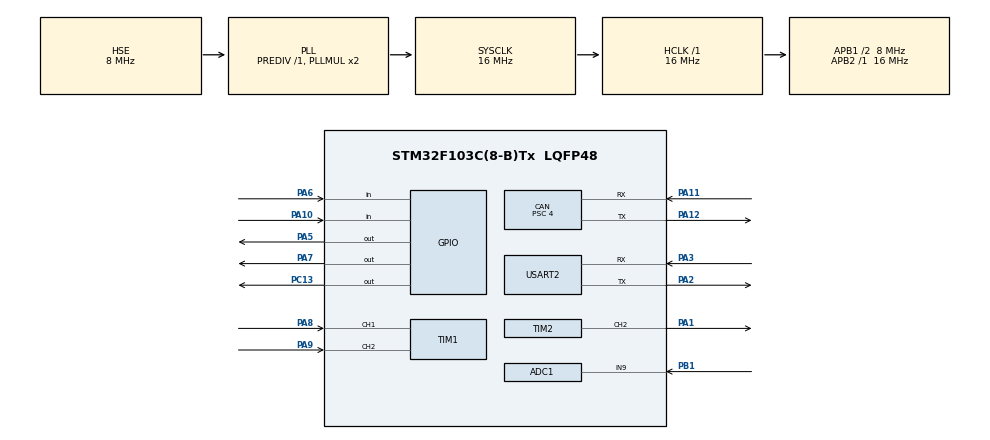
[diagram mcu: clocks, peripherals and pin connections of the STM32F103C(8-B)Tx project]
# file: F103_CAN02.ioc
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ADC1.Channel-0\#ChannelRegularConversion=ADC_CHANNEL_9
ADC1.ContinuousConvMode=ENABLE
ADC1.NbrOfConversionFlag=1
ADC1.Rank-0\#ChannelRegularConversion=1
ADC1.SamplingTime-0\#ChannelRegularConversion=ADC_SAMPLETIME_1CYCLE_5
ADC1.master=1
CAN.BS1=CAN_BS1_2TQ
CAN.CalculateBaudRate=500000
CAN.CalculateTimeBit=2000
CAN.CalculateTimeQuantum=500.0
CAN.Prescaler=4
Mcu.Family=STM32F1
Mcu.Name=STM32F103C(8-B)Tx
Mcu.Package=LQFP48
NVIC.CAN1_RX1_IRQn=true\:0\:0\:false\:false\:true\:true\:true\:true
NVIC.PriorityGroup=NVIC_PRIORITYGROUP_4
NVIC.USB_LP_CAN1_RX0_IRQn=true\:0\:0\:false\:false\:true\:true\:true\:true
PA1.Signal=S_TIM2_CH2
PA10.GPIO_PuPd=GPIO_PULLDOWN
PA10.Signal=GPIO_Input
PA11.Mode=CAN_Activate
PA11.Signal=CAN_RX
PA12.Mode=CAN_Activate
PA12.Signal=CAN_TX
PA13.Mode=Serial_Wire
PA13.Signal=SYS_JTMS-SWDIO
PA14.Mode=Serial_Wire
PA14.Signal=SYS_JTCK-SWCLK
PA2.Mode=Asynchronous
PA2.Signal=USART2_TX
PA3.Mode=Asynchronous
PA3.Signal=USART2_RX
PA5.Signal=GPIO_Output
PA6.GPIO_Mode=GPIO_MODE_INPUT
PA6.GPIO_PuPd=GPIO_PULLDOWN
PA6.Signal=GPIO_Input
PA7.Signal=GPIO_Output
PA8.Signal=S_TIM1_CH1
PA9.Signal=S_TIM1_CH2
PB1.Signal=ADCx_IN9
PC13-TAMPER-RTC.Signal=GPIO_Output
PD0-OSC_IN.Mode=HSE-External-Oscillator
PD0-OSC_IN.Signal=RCC_OSC_IN
PD1-OSC_OUT.Mode=HSE-External-Oscillator
PD1-OSC_OUT.Signal=RCC_OSC_OUT
ProjectManager.HeapSize=0x200
ProjectManager.StackSize=0x400
ProjectManager.TargetToolchain=STM32CubeIDE
RCC.AHBFreq_Value=16000000
RCC.APB1CLKDivider=RCC_HCLK_DIV2
RCC.APB1Freq_Value=8000000
RCC.APB1TimFreq_Value=16000000
RCC.APB2Freq_Value=16000000
RCC.APB2TimFreq_Value=16000000
RCC.HCLKFreq_Value=16000000
RCC.PLLSourceVirtual=RCC_PLLSOURCE_HSE
RCC.SYSCLKFreq_VALUE=16000000
RCC.SYSCLKSource=RCC_SYSCLKSOURCE_PLLCLK
RCC.USBFreq_Value=16000000
SH.ADCx_IN9.0=ADC1_IN9,IN9
SH.S_TIM1_CH1.0=TIM1_CH1,Encoder_Interface
SH.S_TIM1_CH2.0=TIM1_CH2,Encoder_Interface
SH.S_TIM2_CH2.0=TIM2_CH2,PWM Generation2 CH2
TIM1.AutoReloadPreload=TIM_AUTORELOAD_PRELOAD_ENABLE
TIM1.EncoderMode=TIM_ENCODERMODE_TI12
TIM1.IC1Filter=10
TIM1.IC2Filter=10
TIM2.Channel-PWM\ Generation2\ CH2=TIM_CHANNEL_2
TIM2.Period=625
TIM2.Prescaler=127
USART2.VirtualMode=VM_ASYNC
VP_TIM2_VS_ClockSourceINT.Mode=Internal
board=custom

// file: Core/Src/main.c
/* USER CODE BEGIN Header */
/**
 ******************************************************************************
 * @file           : main.c
 * @brief          : Main program body
 ******************************************************************************
 * @attention
 *
 * Copyright (c) 2023 STMicroelectronics.
 * All rights reserved.
 *
 * This software is licensed under terms that can be found in the LICENSE file
 * in the root directory of this software component.
 * If no LICENSE file comes with this software, it is provided AS-IS.
 *
 ******************************************************************************
 */
/* USER CODE END Header */
#include "main.h"
#include <stdio.h>

ADC_HandleTypeDef hadc1;

CAN_HandleTypeDef hcan;

TIM_HandleTypeDef htim1;
TIM_HandleTypeDef htim2;

UART_HandleTypeDef huart2;

void SystemClock_Config(void);
static void MX_GPIO_Init(void);
static void MX_CAN_Init(void);
static void MX_TIM1_Init(void);
static void MX_TIM2_Init(void);
static void MX_USART2_UART_Init(void);
static void MX_ADC1_Init(void);

/* USER CODE BEGIN 0 */
CAN_TxHeaderTypeDef TxHeader;
CAN_TxHeaderTypeDef TxIVIHeader;
CAN_RxHeaderTypeDef RxHeader;

uint8_t TxData[8];
uint8_t RxData[8];

uint32_t TxMailbox;

int datacheck = 0;

void HAL_CAN_RxFifo1MsgPendingCallback(CAN_HandleTypeDef *hcan) {
	char TagLightSensor[25] = { "Slave callback....\n\r" };
	HAL_UART_Transmit(&huart2, (uint8_t*) &TagLightSensor, 25, 25);
	HAL_CAN_GetRxMessage(hcan, CAN_RX_FIFO1, &RxHeader, RxData);
	if (RxHeader.DLC == 2) {
		datacheck = 1;
	}
}
/* USER CODE END 0 */

int main(void) {
	/* USER CODE BEGIN 1 */
	char message[50] = { '\0' };
	/* USER CODE END 1 */

	/* MCU Configuration--------------------------------------------------------*/

	/* Reset of all peripherals, Initializes the Flash interface and the Systick. */
	HAL_Init();

	/* Configure the system clock */
	SystemClock_Config();

	/* Initialize all configured peripherals */
	MX_GPIO_Init();
	MX_CAN_Init();
	MX_TIM1_Init();
	MX_TIM2_Init();
	MX_USART2_UART_Init();
	MX_ADC1_Init();
	/* USER CODE BEGIN 2 */
	HAL_CAN_Start(&hcan);

	// Activate the notification
	HAL_CAN_ActivateNotification(&hcan, CAN_IT_RX_FIFO1_MSG_PENDING);

	TxHeader.DLC = 2;  // data length
	TxHeader.IDE = CAN_ID_STD;
	TxHeader.RTR = CAN_RTR_DATA;
	TxHeader.StdId = 0x103;  // ID

	TxIVIHeader.DLC = 2;  // data length
	TxIVIHeader.IDE = CAN_ID_STD;
	TxIVIHeader.RTR = CAN_RTR_DATA;
	TxIVIHeader.StdId = 0x242;  // ID

	TxData[0] = 200;  // ms delay
	TxData[1] = 40;  // loop rep

	HAL_ADC_Start(&hadc1);  //PB1

	HAL_TIM_PWM_Start(&htim1, TIM_CHANNEL_2); //PA1 TIM2 CH2

	uint16_t readValue;
	int speed;
	HAL_GPIO_WritePin(GPIOA, GPIO_PIN_7, 0);
	HAL_GPIO_WritePin(GPIOA, GPIO_PIN_5, 0);

	/* USER CODE END 2 */

	/* Infinite loop */
	/* USER CODE BEGIN WHILE */
	while (1) {
		if (HAL_GPIO_ReadPin(GPIOA, GPIO_PIN_6) == GPIO_PIN_SET) { //Check if head light button pressed
			char TagCan[35] = { "Slave trigger from switch....\n\r" };
			HAL_UART_Transmit(&huart2, (uint8_t*) &TagCan, 35, 35);
			HAL_CAN_AddTxMessage(&hcan, &TxHeader, TxData, &TxMailbox);
		}
		if (datacheck) {
			// blink the LED
			for (int i = 0; i < RxData[1]; i++) {
				HAL_GPIO_TogglePin(GPIOC, GPIO_PIN_13);
				HAL_Delay(RxData[0]);
			}

			datacheck = 0;

			TxData[0] = 200;   // ms Delay
			TxData[1] = 40;    // loop rep

			char TagCan[25] = { "Slave trigger....\n\r" };
			HAL_UART_Transmit(&huart2, (uint8_t*) &TagCan, 25, 25);

			HAL_CAN_AddTxMessage(&hcan, &TxHeader, TxData, &TxMailbox);

		}

		HAL_ADC_PollForConversion(&hadc1, 1000);
		//readValue = HAL_ADC_GetValue(&hadc1);
		readValue = (TIM1->CNT) >> 2;
		if (readValue < 1790) {
			HAL_GPIO_WritePin(GPIOA, GPIO_PIN_7, 0);
			HAL_GPIO_WritePin(GPIOA, GPIO_PIN_5, 1);
			speed = (readValue - 1790) * (-1) / 3;
		} else if (readValue > 2220) {
			HAL_GPIO_WritePin(GPIOA, GPIO_PIN_5, 0);
			HAL_GPIO_WritePin(GPIOA, GPIO_PIN_7, 1);
			speed = (readValue - 2220) / 3;
		} else {
			speed = 0;
		}
		__HAL_TIM_SET_COMPARE(&htim2, TIM_CHANNEL_2, speed);

		if (HAL_GPIO_ReadPin(GPIOA, GPIO_PIN_10) == GPIO_PIN_RESET) {
			sprintf(message, "Switch Released, Encoder Ticks = %ld\n\r",
					((TIM1->CNT) >> 2));
			HAL_UART_Transmit(&huart2, (uint8_t*) message, sizeof(message),
					100);
			TxData[0] = 11;
			TxData[1] = ((TIM1->CNT) >> 2);
			HAL_CAN_AddTxMessage(&hcan, &TxIVIHeader, TxData, &TxMailbox);
		} else {
			sprintf(message, "Switch Pressed,  Encoder Ticks = %ld\n\r",
					((TIM1->CNT) >> 2));
			TxData[0] = 11;
			TxData[1] = ((TIM1->CNT) >> 2);
			HAL_CAN_AddTxMessage(&hcan, &TxIVIHeader, TxData, &TxMailbox);
			HAL_UART_Transmit(&huart2, (uint8_t*) message, sizeof(message),
					100);
		}
		HAL_Delay(500);
	}
	/* USER CODE END 3 */
}

void SystemClock_Config(void) {
	RCC_OscInitTypeDef RCC_OscInitStruct = { 0 };
	RCC_ClkInitTypeDef RCC_ClkInitStruct = { 0 };
	RCC_PeriphCLKInitTypeDef PeriphClkInit = { 0 };

	/** Initializes the RCC Oscillators according to the specified parameters
	 * in the RCC_OscInitTypeDef structure.
	 */
	RCC_OscInitStruct.OscillatorType = RCC_OSCILLATORTYPE_HSE;
	RCC_OscInitStruct.HSEState = RCC_HSE_ON;
	RCC_OscInitStruct.HSEPredivValue = RCC_HSE_PREDIV_DIV1;
	RCC_OscInitStruct.HSIState = RCC_HSI_ON;
	RCC_OscInitStruct.PLL.PLLState = RCC_PLL_ON;
	RCC_OscInitStruct.PLL.PLLSource = RCC_PLLSOURCE_HSE;
	RCC_OscInitStruct.PLL.PLLMUL = RCC_PLL_MUL2;
	if (HAL_RCC_OscConfig(&RCC_OscInitStruct) != HAL_OK) {
		Error_Handler();
	}

	/** Initializes the CPU, AHB and APB buses clocks
	 */
	RCC_ClkInitStruct.ClockType = RCC_CLOCKTYPE_HCLK | RCC_CLOCKTYPE_SYSCLK
			| RCC_CLOCKTYPE_PCLK1 | RCC_CLOCKTYPE_PCLK2;
	RCC_ClkInitStruct.SYSCLKSource = RCC_SYSCLKSOURCE_PLLCLK;
	RCC_ClkInitStruct.AHBCLKDivider = RCC_SYSCLK_DIV1;
	RCC_ClkInitStruct.APB1CLKDivider = RCC_HCLK_DIV2;
	RCC_ClkInitStruct.APB2CLKDivider = RCC_HCLK_DIV1;

	if (HAL_RCC_ClockConfig(&RCC_ClkInitStruct, FLASH_LATENCY_0) != HAL_OK) {
		Error_Handler();
	}
	PeriphClkInit.PeriphClockSelection = RCC_PERIPHCLK_ADC;
	PeriphClkInit.AdcClockSelection = RCC_ADCPCLK2_DIV2;
	if (HAL_RCCEx_PeriphCLKConfig(&PeriphClkInit) != HAL_OK) {
		Error_Handler();
	}
}

static void MX_ADC1_Init(void) {

	ADC_ChannelConfTypeDef sConfig = { 0 };

	/** Common config
	 */
	hadc1.Instance = ADC1;
	hadc1.Init.ScanConvMode = ADC_SCAN_DISABLE;
	hadc1.Init.ContinuousConvMode = ENABLE;
	hadc1.Init.DiscontinuousConvMode = DISABLE;
	hadc1.Init.ExternalTrigConv = ADC_SOFTWARE_START;
	hadc1.Init.DataAlign = ADC_DATAALIGN_RIGHT;
	hadc1.Init.NbrOfConversion = 1;
	if (HAL_ADC_Init(&hadc1) != HAL_OK) {
		Error_Handler();
	}

	/** Configure Regular Channel
	 */
	sConfig.Channel = ADC_CHANNEL_9;
	sConfig.Rank = ADC_REGULAR_RANK_1;
	sConfig.SamplingTime = ADC_SAMPLETIME_1CYCLE_5;
	if (HAL_ADC_ConfigChannel(&hadc1, &sConfig) != HAL_OK) {
		Error_Handler();
	}

}

static void MX_CAN_Init(void) {

	hcan.Instance = CAN1;
	hcan.Init.Prescaler = 4;
	hcan.Init.Mode = CAN_MODE_NORMAL;
	hcan.Init.SyncJumpWidth = CAN_SJW_1TQ;
	hcan.Init.TimeSeg1 = CAN_BS1_2TQ;
	hcan.Init.TimeSeg2 = CAN_BS2_1TQ;
	hcan.Init.TimeTriggeredMode = DISABLE;
	hcan.Init.AutoBusOff = DISABLE;
	hcan.Init.AutoWakeUp = DISABLE;
	hcan.Init.AutoRetransmission = DISABLE;
	hcan.Init.ReceiveFifoLocked = DISABLE;
	hcan.Init.TransmitFifoPriority = DISABLE;
	if (HAL_CAN_Init(&hcan) != HAL_OK) {
		Error_Handler();
	}
	/* USER CODE BEGIN CAN_Init 2 */

	CAN_FilterTypeDef canfilterconfig;

	canfilterconfig.FilterActivation = CAN_FILTER_ENABLE;
	canfilterconfig.FilterBank = 4; // which filter bank to use from the assigned ones
	canfilterconfig.FilterFIFOAssignment = CAN_FILTER_FIFO1;
	canfilterconfig.FilterIdHigh = 0x446 << 5;
	canfilterconfig.FilterIdLow = 0;
	canfilterconfig.FilterMaskIdHigh = 0x446 << 5;
	canfilterconfig.FilterMaskIdLow = 0x0000;
	canfilterconfig.FilterMode = CAN_FILTERMODE_IDMASK;
	canfilterconfig.FilterScale = CAN_FILTERSCALE_32BIT;
	canfilterconfig.SlaveStartFilterBank = 5; // how many filters to assign to the CAN1 (master can)

	HAL_CAN_ConfigFilter(&hcan, &canfilterconfig);
	/* USER CODE END CAN_Init 2 */

}

static void MX_TIM1_Init(void) {

	TIM_Encoder_InitTypeDef sConfig = { 0 };
	TIM_MasterConfigTypeDef sMasterConfig = { 0 };

	htim1.Instance = TIM1;
	htim1.Init.Prescaler = 0;
	htim1.Init.CounterMode = TIM_COUNTERMODE_UP;
	htim1.Init.Period = 65535;
	htim1.Init.ClockDivision = TIM_CLOCKDIVISION_DIV1;
	htim1.Init.RepetitionCounter = 0;
	htim1.Init.AutoReloadPreload = TIM_AUTORELOAD_PRELOAD_ENABLE;
	sConfig.EncoderMode = TIM_ENCODERMODE_TI12;
	sConfig.IC1Polarity = TIM_ICPOLARITY_RISING;
	sConfig.IC1Selection = TIM_ICSELECTION_DIRECTTI;
	sConfig.IC1Prescaler = TIM_ICPSC_DIV1;
	sConfig.IC1Filter = 10;
	sConfig.IC2Polarity = TIM_ICPOLARITY_RISING;
	sConfig.IC2Selection = TIM_ICSELECTION_DIRECTTI;
	sConfig.IC2Prescaler = TIM_ICPSC_DIV1;
	sConfig.IC2Filter = 10;
	if (HAL_TIM_Encoder_Init(&htim1, &sConfig) != HAL_OK) {
		Error_Handler();
	}
	sMasterConfig.MasterOutputTrigger = TIM_TRGO_RESET;
	sMasterConfig.MasterSlaveMode = TIM_MASTERSLAVEMODE_DISABLE;
	if (HAL_TIMEx_MasterConfigSynchronization(&htim1, &sMasterConfig)
			!= HAL_OK) {
		Error_Handler();
	}

}

static void MX_TIM2_Init(void) {

	TIM_ClockConfigTypeDef sClockSourceConfig = { 0 };
	TIM_MasterConfigTypeDef sMasterConfig = { 0 };
	TIM_OC_InitTypeDef sConfigOC = { 0 };

	htim2.Instance = TIM2;
	htim2.Init.Prescaler = 127;
	htim2.Init.CounterMode = TIM_COUNTERMODE_UP;
	htim2.Init.Period = 625;
	htim2.Init.ClockDivision = TIM_CLOCKDIVISION_DIV1;
	htim2.Init.AutoReloadPreload = TIM_AUTORELOAD_PRELOAD_DISABLE;
	if (HAL_TIM_Base_Init(&htim2) != HAL_OK) {
		Error_Handler();
	}
	sClockSourceConfig.ClockSource = TIM_CLOCKSOURCE_INTERNAL;
	if (HAL_TIM_ConfigClockSource(&htim2, &sClockSourceConfig) != HAL_OK) {
		Error_Handler();
	}
	if (HAL_TIM_PWM_Init(&htim2) != HAL_OK) {
		Error_Handler();
	}
	sMasterConfig.MasterOutputTrigger = TIM_TRGO_RESET;
	sMasterConfig.MasterSlaveMode = TIM_MASTERSLAVEMODE_DISABLE;
	if (HAL_TIMEx_MasterConfigSynchronization(&htim2, &sMasterConfig)
			!= HAL_OK) {
		Error_Handler();
	}
	sConfigOC.OCMode = TIM_OCMODE_PWM1;
	sConfigOC.Pulse = 0;
	sConfigOC.OCPolarity = TIM_OCPOLARITY_HIGH;
	sConfigOC.OCFastMode = TIM_OCFAST_DISABLE;
	if (HAL_TIM_PWM_ConfigChannel(&htim2, &sConfigOC, TIM_CHANNEL_2)
			!= HAL_OK) {
		Error_Handler();
	}
	HAL_TIM_MspPostInit(&htim2);

}

static void MX_USART2_UART_Init(void) {

	huart2.Instance = USART2;
	huart2.Init.BaudRate = 115200;
	huart2.Init.WordLength = UART_WORDLENGTH_8B;
	huart2.Init.StopBits = UART_STOPBITS_1;
	huart2.Init.Parity = UART_PARITY_NONE;
	huart2.Init.Mode = UART_MODE_TX_RX;
	huart2.Init.HwFlowCtl = UART_HWCONTROL_NONE;
	huart2.Init.OverSampling = UART_OVERSAMPLING_16;
	if (HAL_UART_Init(&huart2) != HAL_OK) {
		Error_Handler();
	}

}

static void MX_GPIO_Init(void) {
	GPIO_InitTypeDef GPIO_InitStruct = { 0 };

	/* GPIO Ports Clock Enable */
	__HAL_RCC_GPIOC_CLK_ENABLE();
	__HAL_RCC_GPIOD_CLK_ENABLE();
	__HAL_RCC_GPIOA_CLK_ENABLE();
	__HAL_RCC_GPIOB_CLK_ENABLE();

	/*Configure GPIO pin Output Level */
	HAL_GPIO_WritePin(GPIOC, GPIO_PIN_13, GPIO_PIN_RESET);

	/*Configure GPIO pin Output Level */
	HAL_GPIO_WritePin(GPIOA, GPIO_PIN_5 | GPIO_PIN_7, GPIO_PIN_RESET);

	/*Configure GPIO pin : PC13 */
	GPIO_InitStruct.Pin = GPIO_PIN_13;
	GPIO_InitStruct.Mode = GPIO_MODE_OUTPUT_PP;
	GPIO_InitStruct.Pull = GPIO_NOPULL;
	GPIO_InitStruct.Speed = GPIO_SPEED_FREQ_LOW;
	HAL_GPIO_Init(GPIOC, &GPIO_InitStruct);

	/*Configure GPIO pins : PA5 PA7 */
	GPIO_InitStruct.Pin = GPIO_PIN_5 | GPIO_PIN_7;
	GPIO_InitStruct.Mode = GPIO_MODE_OUTPUT_PP;
	GPIO_InitStruct.Pull = GPIO_NOPULL;
	GPIO_InitStruct.Speed = GPIO_SPEED_FREQ_LOW;
	HAL_GPIO_Init(GPIOA, &GPIO_InitStruct);

	/*Configure GPIO pins : PA6 PA10 */
	GPIO_InitStruct.Pin = GPIO_PIN_6 | GPIO_PIN_10;
	GPIO_InitStruct.Mode = GPIO_MODE_INPUT;
	GPIO_InitStruct.Pull = GPIO_PULLDOWN;
	HAL_GPIO_Init(GPIOA, &GPIO_InitStruct);

}

void Error_Handler(void) {
	__disable_irq();
	while (1) {
	}
}
